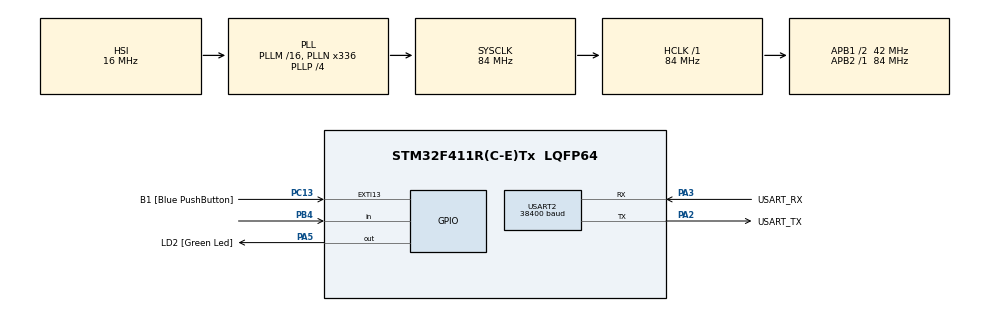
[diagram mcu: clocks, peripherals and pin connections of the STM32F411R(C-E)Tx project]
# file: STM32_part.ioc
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Mcu.Family=STM32F4
Mcu.Name=STM32F411R(C-E)Tx
Mcu.Package=LQFP64
NVIC.PriorityGroup=NVIC_PRIORITYGROUP_0
PA13.GPIO_Label=TMS
PA13.Signal=SYS_JTMS-SWDIO
PA14.GPIO_Label=TCK
PA14.Signal=SYS_JTCK-SWCLK
PA2.GPIO_Label=USART_TX
PA2.Mode=Asynchronous
PA2.Signal=USART2_TX
PA3.GPIO_Label=USART_RX
PA3.Mode=Asynchronous
PA3.Signal=USART2_RX
PA5.GPIO_Label=LD2 [Green Led]
PA5.Signal=GPIO_Output
PB3.GPIO_Label=SWO
PB3.Signal=SYS_JTDO-SWO
PB4.Signal=GPIO_Input
PC13-ANTI_TAMP.GPIO_Label=B1 [Blue PushButton]
PC13-ANTI_TAMP.GPIO_ModeDefaultEXTI=GPIO_MODE_IT_FALLING
PC13-ANTI_TAMP.Signal=GPXTI13
PC14-OSC32_IN.Signal=RCC_OSC32_IN
PC15-OSC32_OUT.Signal=RCC_OSC32_OUT
PH0\ -\ OSC_IN.Signal=RCC_OSC_IN
PH1\ -\ OSC_OUT.Signal=RCC_OSC_OUT
ProjectManager.HeapSize=0x200
ProjectManager.StackSize=0x400
ProjectManager.TargetToolchain=STM32CubeIDE
RCC.48MHZClocksFreq_Value=84000000
RCC.AHBFreq_Value=84000000
RCC.APB1CLKDivider=RCC_HCLK_DIV2
RCC.APB1Freq_Value=42000000
RCC.APB1TimFreq_Value=84000000
RCC.APB2Freq_Value=84000000
RCC.APB2TimFreq_Value=84000000
RCC.CortexFreq_Value=84000000
RCC.FLatency-AdvancedSettings=FLASH_LATENCY_2
RCC.HCLKFreq_Value=84000000
RCC.HSE_VALUE=8000000
RCC.HSI_VALUE=16000000
RCC.LSE_VALUE=32768
RCC.PLLN=336
RCC.PLLP=RCC_PLLP_DIV4
RCC.SYSCLKFreq_VALUE=84000000
RCC.SYSCLKSource=RCC_SYSCLKSOURCE_PLLCLK
RCC.VCOOutputFreq_Value=336000000
USART2.BaudRate=38400
USART2.VirtualMode=VM_ASYNC
board=NUCLEO-F411RE

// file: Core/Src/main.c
/* USER CODE BEGIN Header */
/**
  ******************************************************************************
  * @file           : main.c
  * @brief          : Main program body
  ******************************************************************************
  * @attention
  *
  * <h2><center>&copy; Copyright (c) 2023 STMicroelectronics.
  * All rights reserved.</center></h2>
  *
  * This software component is licensed by ST under BSD 3-Clause license,
  * the "License"; You may not use this file except in compliance with the
  * License. You may obtain a copy of the License at:
  *                        opensource.org/licenses/BSD-3-Clause
  *
  ******************************************************************************
  */
#include<stdio.h>
#include<stdlib.h>
#include<string.h>
/* USER CODE END Header */
#include "main.h"

/* USER CODE BEGIN Includes */
#include "DHT.h"
/* USER CODE END Includes */

UART_HandleTypeDef huart2;

void SystemClock_Config(void);
static void MX_GPIO_Init(void);
static void MX_USART2_UART_Init(void);
/* USER CODE BEGIN PFP */
void printWelcomeMessage(void);
uint8_t readUserInput(void);
uint8_t processUserInput(uint8_t, DHT_data d);
/* USER CODE END PFP */

/* USER CODE BEGIN 0 */
//static DHT_sensor livingRoom = {GPIOB, GPIO_PIN_4, DHT11, GPIO_NOPULL};
/* USER CODE END 0 */

int main(void)
{

  /* MCU Configuration--------------------------------------------------------*/

  /* Reset of all peripherals, Initializes the Flash interface and the Systick. */
  HAL_Init();

  /* Configure the system clock */
  SystemClock_Config();

  /* Initialize all configured peripherals */
  MX_GPIO_Init();
  MX_USART2_UART_Init();
  /* USER CODE BEGIN 2 */
  DHT_sensor dht11_sensor = {GPIOB, GPIO_PIN_4, DHT11, GPIO_NOPULL};
  DHT_data data;
  //char msg[40];
  uint8_t opt = 0;

  /* USER CODE END 2 */

  /* Infinite loop */
  /* USER CODE BEGIN WHILE */
  //uint8_t msg[40];
  while(1)
  {
	  HAL_Delay(5000);
	  char msg[40];
	  //Получение данных с датчика
	  data = DHT_getData(&dht11_sensor);
	  //sprintf(msg, "Living room: Temp %d, Hum %d***", (uint8_t)data.temp, (uint8_t)data.hum);
	  sprintf(msg, "%d %d***", (uint8_t)data.temp, (uint8_t)data.hum);
	  HAL_UART_Transmit(&huart2, (uint8_t*)msg, strlen(msg), 0xFF);

	  HAL_GPIO_WritePin(LD2_GPIO_Port, LD2_Pin, GPIO_PIN_SET);
	  HAL_Delay(300);
	  HAL_GPIO_WritePin(LD2_GPIO_Port, LD2_Pin, GPIO_PIN_RESET);

    /*
    HAL_Delay(1000);
	//Получение данных с датчика
	data = DHT_getData(&dht11_sensor);
	//Печать данных в буффер
	//sprintf(msg, "\n\r%d %d", (uint8_t)data.temp, (uint8_t)data.hum);
	//Отправка текста в UART
	//HAL_UART_Transmit(&huart2, (uint8_t*)msg, strlen(msg), 0xFF);
	sprintf(msg, "%d %d", (uint8_t)data.temp, (uint8_t)data.hum);
	HAL_UART_Transmit(&huart2, (uint8_t*)msg, strlen(msg), 0xFF);
	//sprintf(msg, "%c", (uint8_t)data.hum);
	//HAL_UART_Transmit(&huart2, (uint8_t*)msg, strlen(msg), 0xFF);
	HAL_GPIO_WritePin(LD2_GPIO_Port, LD2_Pin, GPIO_PIN_SET);
	HAL_Delay(300);
	HAL_GPIO_WritePin(LD2_GPIO_Port, LD2_Pin, GPIO_PIN_RESET);
    */

    /* USER CODE END WHILE */

  }
}

void SystemClock_Config(void)
{
  RCC_OscInitTypeDef RCC_OscInitStruct = {0};
  RCC_ClkInitTypeDef RCC_ClkInitStruct = {0};

  /** Configure the main internal regulator output voltage
  */
  __HAL_RCC_PWR_CLK_ENABLE();
  __HAL_PWR_VOLTAGESCALING_CONFIG(PWR_REGULATOR_VOLTAGE_SCALE1);
  /** Initializes the RCC Oscillators according to the specified parameters
  * in the RCC_OscInitTypeDef structure.
  */
  RCC_OscInitStruct.OscillatorType = RCC_OSCILLATORTYPE_HSI;
  RCC_OscInitStruct.HSIState = RCC_HSI_ON;
  RCC_OscInitStruct.HSICalibrationValue = RCC_HSICALIBRATION_DEFAULT;
  RCC_OscInitStruct.PLL.PLLState = RCC_PLL_ON;
  RCC_OscInitStruct.PLL.PLLSource = RCC_PLLSOURCE_HSI;
  RCC_OscInitStruct.PLL.PLLM = 16;
  RCC_OscInitStruct.PLL.PLLN = 336;
  RCC_OscInitStruct.PLL.PLLP = RCC_PLLP_DIV4;
  RCC_OscInitStruct.PLL.PLLQ = 4;
  if (HAL_RCC_OscConfig(&RCC_OscInitStruct) != HAL_OK)
  {
    Error_Handler();
  }
  /** Initializes the CPU, AHB and APB buses clocks
  */
  RCC_ClkInitStruct.ClockType = RCC_CLOCKTYPE_HCLK|RCC_CLOCKTYPE_SYSCLK
                              |RCC_CLOCKTYPE_PCLK1|RCC_CLOCKTYPE_PCLK2;
  RCC_ClkInitStruct.SYSCLKSource = RCC_SYSCLKSOURCE_PLLCLK;
  RCC_ClkInitStruct.AHBCLKDivider = RCC_SYSCLK_DIV1;
  RCC_ClkInitStruct.APB1CLKDivider = RCC_HCLK_DIV2;
  RCC_ClkInitStruct.APB2CLKDivider = RCC_HCLK_DIV1;

  if (HAL_RCC_ClockConfig(&RCC_ClkInitStruct, FLASH_LATENCY_2) != HAL_OK)
  {
    Error_Handler();
  }
}

static void MX_USART2_UART_Init(void)
{

  huart2.Instance = USART2;
  huart2.Init.BaudRate = 115200;
  huart2.Init.WordLength = UART_WORDLENGTH_8B;
  huart2.Init.StopBits = UART_STOPBITS_1;
  huart2.Init.Parity = UART_PARITY_NONE;
  huart2.Init.Mode = UART_MODE_TX_RX;
  huart2.Init.HwFlowCtl = UART_HWCONTROL_NONE;
  huart2.Init.OverSampling = UART_OVERSAMPLING_16;
  if (HAL_UART_Init(&huart2) != HAL_OK)
  {
    Error_Handler();
  }

}

static void MX_GPIO_Init(void)
{
  GPIO_InitTypeDef GPIO_InitStruct = {0};

  /* GPIO Ports Clock Enable */
  __HAL_RCC_GPIOC_CLK_ENABLE();
  __HAL_RCC_GPIOH_CLK_ENABLE();
  __HAL_RCC_GPIOA_CLK_ENABLE();
  __HAL_RCC_GPIOB_CLK_ENABLE();

  /*Configure GPIO pin Output Level */
  HAL_GPIO_WritePin(LD2_GPIO_Port, LD2_Pin, GPIO_PIN_RESET);

  /*Configure GPIO pin : B1_Pin */
  GPIO_InitStruct.Pin = B1_Pin;
  GPIO_InitStruct.Mode = GPIO_MODE_IT_FALLING;
  GPIO_InitStruct.Pull = GPIO_NOPULL;
  HAL_GPIO_Init(B1_GPIO_Port, &GPIO_InitStruct);

  /*Configure GPIO pin : LD2_Pin */
  GPIO_InitStruct.Pin = LD2_Pin;
  GPIO_InitStruct.Mode = GPIO_MODE_OUTPUT_PP;
  GPIO_InitStruct.Pull = GPIO_NOPULL;
  GPIO_InitStruct.Speed = GPIO_SPEED_FREQ_LOW;
  HAL_GPIO_Init(LD2_GPIO_Port, &GPIO_InitStruct);

  /*Configure GPIO pin : PB4 */
  GPIO_InitStruct.Pin = GPIO_PIN_4;
  GPIO_InitStruct.Mode = GPIO_MODE_INPUT;
  GPIO_InitStruct.Pull = GPIO_NOPULL;
  HAL_GPIO_Init(GPIOB, &GPIO_InitStruct);

}

/* USER CODE BEGIN 4 */
void printWelcomeMessage(void)
{
  HAL_UART_Transmit(&huart2, (uint8_t*)"\033[0;0H", strlen("\033[0;0H"), HAL_MAX_DELAY);
  HAL_UART_Transmit(&huart2, (uint8_t*)"\033[2J", strlen("\033[2J"), HAL_MAX_DELAY);
  //HAL_UART_Transmit(&huart2, (uint8_t*)WELCOME_MSG, strlen(WELCOME_MSG), HAL_MAX_DELAY);
  //HAL_UART_Transmit(&huart2, (uint8_t*)MAIN_MENU, strlen(MAIN_MENU), HAL_MAX_DELAY);
  HAL_UART_Transmit(&huart2, (uint8_t*)"Hello!\n", strlen("Hello!\n"), HAL_MAX_DELAY);
  HAL_UART_Transmit(&huart2, (uint8_t*)"Main menu:\n", strlen("Main menu:\n"), HAL_MAX_DELAY);
}

uint8_t readUserInput(void)
{
  char readBuf[1];
  //HAL_UART_Transmit(&huart2, (uint8_t*)"\n\rYour chice: ", strlen("\n\rYour chice: "), HAL_MAX_DELAY);
  HAL_UART_Receive(&huart2, (uint8_t*)readBuf, 1, HAL_MAX_DELAY);
  return atoi(readBuf);
}

uint8_t processUserInput(uint8_t opt, DHT_data d)
{
  char msg[40];
  //DHT_sensor livingRoom = {GPIOB, GPIO_PIN_4, DHT11, GPIO_NOPULL};
  //char msg[30];
  //if(!opt || opt > 3)
    //return 0;

  //sprintf(msg, "%d", opt);
  //HAL_UART_Transmit(&huart2, (uint8_t*)msg, strlen(msg), HAL_MAX_DELAY);
  switch(opt)
  {
    case 1:
      HAL_GPIO_TogglePin(GPIOA, GPIO_PIN_5);
      break;
    case 2:
      //static DHT_sensor livingRoom = {GPIOB, GPIO_PIN_4, DHT11, GPIO_NOPULL};
      //Получение данных с датчика
      //DHT_data d = DHT_getData(&livingRoom);
      //Печать данных в буффер
      sprintf(msg, "\n\rLiving room: Temp %d°C, Hum %d%%", (uint8_t)d.temp, (uint8_t)d.hum);
      //Отправка текста в UART
      //HAL_GPIO_WritePin(GPIOA, GPIO_PIN_5, GPIO_PIN_RESET);
      //HAL_GPIO_WritePin(GPIOA, GPIO_PIN_5, GPIO_PIN_SET);
      HAL_UART_Transmit(&huart2, (uint8_t*)msg, strlen(msg), HAL_MAX_DELAY);
      //HAL_Delay(300);
      //HAL_GPIO_WritePin(GPIOA, GPIO_PIN_5, GPIO_PIN_RESET);
      break;
    //default:
      //break;
  };

  return 1;
}
/* USER CODE END 4 */

void Error_Handler(void)
{
  __disable_irq();
  while (1)
  {
  }
}

/************************ (C) COPYRIGHT STMicroelectronics *****END OF FILE****/
